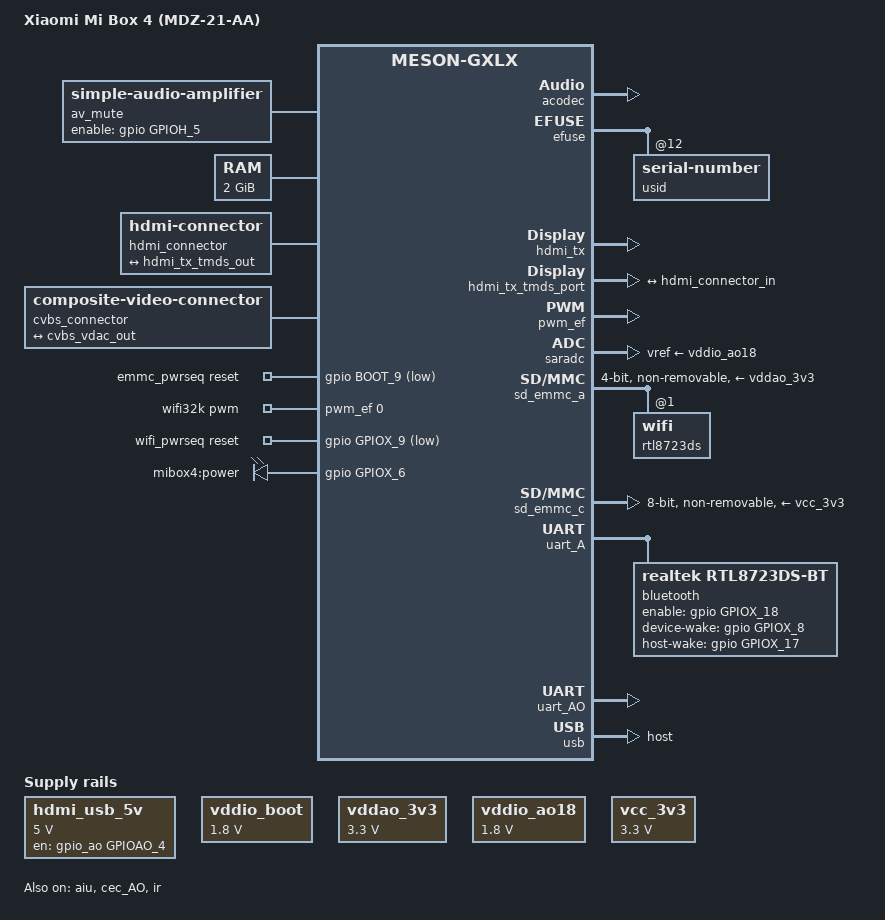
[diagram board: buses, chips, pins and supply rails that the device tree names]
// SPDX-License-Identifier: (GPL-2.0+ OR MIT)
// Copyright (c) 2026 YuChia-Kan <mail@raspberrykan.dev>
/*
 * Xiaomi Mi Box 4 (MDZ-21-AA)
 *
 * This board uses the S905L/GXLX SoC family but does not share the P23x,
 * Q20x, or P271 reference-board wiring. Keep all board-level regulators,
 * GPIOs, storage, audio, and wireless wiring local to this file.
 */

/dts-v1/;

#include "meson-gxl-s905x.dtsi"

#include <dt-bindings/leds/common.h>
#include <dt-bindings/sound/meson-aiu.h>

/ {
	compatible = "xiaomi,mibox4", "amlogic,s905l", "amlogic,meson-gxlx";
	model = "Xiaomi Mi Box 4 (MDZ-21-AA)";

	aliases {
		serial0 = &uart_AO;
		mmc0 = &sd_emmc_c;
		mmc1 = &sd_emmc_a;
		/delete-property/ mmc2;
	};

	chosen {
		stdout-path = "serial0:115200n8";
	};

	/*
	 * The vendor sound card's GPIO specifier uses the legacy linear ID
	 * 0x15. On GXL that is GPIOH_5, the active-high analog unmute line.
	 */
	av_mute: analog-audio-mute {
		compatible = "simple-audio-amplifier";
		sound-name-prefix = "AV";
		enable-gpios = <&gpio GPIOH_5 GPIO_ACTIVE_HIGH>;
	};

	/* gxl_tf_2g in Xiaomi's vendor DTB: 2 GiB RAM. */
	memory@0 {
		device_type = "memory";
		reg = <0x0 0x0 0x0 0x80000000>;
	};

	hdmi_connector: hdmi-connector {
		compatible = "hdmi-connector";
		type = "a";

		port {
			hdmi_connector_in: endpoint {
				remote-endpoint = <&hdmi_tx_tmds_out>;
			};
		};
	};

	cvbs_connector: cvbs-connector {
		compatible = "composite-video-connector";

		port {
			cvbs_connector_in: endpoint {
				remote-endpoint = <&cvbs_vdac_out>;
			};
		};
	};

	/* GPIOAO_4 enables the supply shared by HDMI 5 V and USB VBUS. */
	hdmi_usb_5v: regulator-hdmi-usb-5v {
		compatible = "regulator-fixed";
		regulator-name = "HDMI_USB_5V";
		regulator-min-microvolt = <5000000>;
		regulator-max-microvolt = <5000000>;
		gpio = <&gpio_ao GPIOAO_4 GPIO_ACTIVE_HIGH>;
		enable-active-high;
		regulator-boot-on;
		regulator-always-on;
	};

	vddio_boot: regulator-vddio-boot {
		compatible = "regulator-fixed";
		regulator-name = "VDDIO_BOOT";
		regulator-min-microvolt = <1800000>;
		regulator-max-microvolt = <1800000>;
	};

	vddao_3v3: regulator-vddao-3v3 {
		compatible = "regulator-fixed";
		regulator-name = "VDDAO_3V3";
		regulator-min-microvolt = <3300000>;
		regulator-max-microvolt = <3300000>;
	};

	vddio_ao18: regulator-vddio-ao18 {
		compatible = "regulator-fixed";
		regulator-name = "VDDIO_AO18";
		regulator-min-microvolt = <1800000>;
		regulator-max-microvolt = <1800000>;
	};

	vcc_3v3: regulator-vcc-3v3 {
		compatible = "regulator-fixed";
		regulator-name = "VCC_3V3";
		regulator-min-microvolt = <3300000>;
		regulator-max-microvolt = <3300000>;
	};

	emmc_pwrseq: emmc-pwrseq {
		compatible = "mmc-pwrseq-emmc";
		reset-gpios = <&gpio BOOT_9 GPIO_ACTIVE_LOW>;
	};

	wifi32k: wifi32k {
		compatible = "pwm-clock";
		#clock-cells = <0>;
		clock-frequency = <32768>;
		pwms = <&pwm_ef 0 30518 0>;
	};

	wifi_pwrseq: wifi-pwrseq {
		compatible = "mmc-pwrseq-simple";
		reset-gpios = <&gpio GPIOX_9 GPIO_ACTIVE_LOW>;
		clocks = <&wifi32k>;
		clock-names = "ext_clock";
		post-power-on-delay-ms = <200>;
	};

	leds: leds {
		compatible = "gpio-leds";

		power_led: power-led {
			label = "mibox4:power";
			function = LED_FUNCTION_POWER;
			gpios = <&gpio GPIOX_6 GPIO_ACTIVE_HIGH>;
			default-state = "on";
		};
	};

	sound {
		compatible = "amlogic,gx-sound-card";
		model = "Xiaomi-Mi-Box-4";
		audio-aux-devs = <&av_mute>;
		audio-widgets = "Line", "Lineout";
		audio-routing = "AV INL", "ACODEC LOLN",
				"AV INR", "ACODEC LORN",
				"Lineout", "AV OUTL",
				"Lineout", "AV OUTR";

		clocks = <&clkc CLKID_MPLL0>,
			 <&clkc CLKID_MPLL1>,
			 <&clkc CLKID_MPLL2>;
		assigned-clocks = <&clkc CLKID_MPLL0>,
				  <&clkc CLKID_MPLL1>,
				  <&clkc CLKID_MPLL2>;
		assigned-clock-rates = <294912000>, <270950400>, <393216000>;

		dai-link-0 {
			sound-dai = <&aiu AIU_CPU CPU_I2S_FIFO>;
		};

		dai-link-1 {
			sound-dai = <&aiu AIU_CPU CPU_I2S_ENCODER>;
			dai-format = "i2s";
			mclk-fs = <256>;

			codec-0 {
				sound-dai = <&aiu AIU_HDMI CTRL_I2S>;
			};

			codec-1 {
				sound-dai = <&aiu AIU_ACODEC CTRL_I2S>;
			};
		};

		dai-link-2 {
			sound-dai = <&aiu AIU_HDMI CTRL_OUT>;

			codec-0 {
				sound-dai = <&hdmi_tx>;
			};
		};

		dai-link-3 {
			sound-dai = <&aiu AIU_ACODEC CTRL_OUT>;

			codec-0 {
				sound-dai = <&acodec>;
			};
		};
	};
};

/* Xiaomi MDZ-21-AA uses the Mali 450-MP3 interrupt layout. */
&apb {
	mali: gpu@c0000 {
		interrupts = <GIC_SPI 160 IRQ_TYPE_LEVEL_HIGH>,
			<GIC_SPI 161 IRQ_TYPE_LEVEL_HIGH>,
			<GIC_SPI 162 IRQ_TYPE_LEVEL_HIGH>,
			<GIC_SPI 163 IRQ_TYPE_LEVEL_HIGH>,
			<GIC_SPI 164 IRQ_TYPE_LEVEL_HIGH>,
			<GIC_SPI 165 IRQ_TYPE_LEVEL_HIGH>,
			<GIC_SPI 166 IRQ_TYPE_LEVEL_HIGH>,
			<GIC_SPI 167 IRQ_TYPE_LEVEL_HIGH>,
			<GIC_SPI 168 IRQ_TYPE_LEVEL_HIGH>,
			<GIC_SPI 169 IRQ_TYPE_LEVEL_HIGH>;
		interrupt-names = "gp", "gpmmu", "pp", "pmu",
			"pp0", "ppmmu0", "pp1", "ppmmu1",
			"pp2", "ppmmu2";
	};
};

&acodec {
	AVDD-supply = <&vddio_ao18>;
	status = "okay";
};

&aiu {
	status = "okay";
};

&cec_AO {
	status = "okay";
	pinctrl-0 = <&ao_cec_pins>;
	pinctrl-names = "default";
	hdmi-phandle = <&hdmi_tx>;
};

&cvbs_vdac_port {
	cvbs_vdac_out: endpoint {
		remote-endpoint = <&cvbs_connector_in>;
	};
};

/delete-node/ &eth_mac;
/delete-node/ &sn;
/delete-node/ &bid;

&efuse {
	eth_mac: mac-address@0 {
		reg = <0x00 0x06>;
	};

	bt_mac: mac-address@6 {
		reg = <0x06 0x06>;
	};

	wifi_mac: mac-address@c {
		reg = <0x0c 0x06>;
	};

	usid: serial-number@12 {
		reg = <0x12 0x10>;
	};
};

/* The Mi Box 4 has no Ethernet connector. */
&ethmac {
	status = "disabled";
};

&hdmi_tx {
	status = "okay";
	pinctrl-0 = <&hdmi_hpd_pins>, <&hdmi_i2c_pins>;
	pinctrl-names = "default";
	hdmi-supply = <&hdmi_usb_5v>;
};

&hdmi_tx_tmds_port {
	hdmi_tx_tmds_out: endpoint {
		remote-endpoint = <&hdmi_connector_in>;
	};
};

&ir {
	status = "okay";
	pinctrl-0 = <&remote_input_ao_pins>;
	pinctrl-names = "default";
};

&pwm_ef {
	status = "okay";
	pinctrl-0 = <&pwm_e_pins>;
	pinctrl-names = "default";
};

&saradc {
	compatible = "amlogic,meson-gxlx-saradc", "amlogic,meson-saradc";
	status = "okay";
	vref-supply = <&vddio_ao18>;
};

&sd_emmc_a {
	status = "okay";
	pinctrl-0 = <&sdio_pins>;
	pinctrl-1 = <&sdio_clk_gate_pins>;
	pinctrl-names = "default", "clk-gate";
	#address-cells = <1>;
	#size-cells = <0>;
	bus-width = <4>;
	cap-sd-highspeed;
	cap-sdio-irq;
	max-frequency = <50000000>;
	non-removable;
	no-mmc;
	no-sd;
	disable-wp;
	keep-power-in-suspend;
	sd-uhs-sdr12;
	sd-uhs-sdr25;
	sd-uhs-sdr50;
	sd-uhs-sdr104;
	mmc-pwrseq = <&wifi_pwrseq>;
	vmmc-supply = <&vddao_3v3>;
	vqmmc-supply = <&vddio_boot>;

	rtl8723ds: wifi@1 {
		reg = <1>;
		nvmem-cells = <&wifi_mac>;
		nvmem-cell-names = "mac-address";
		interrupt-parent = <&gpio_intc>;
		interrupts = <GPIOX_7 IRQ_TYPE_LEVEL_HIGH>;
		interrupt-names = "host-wake";
	};
};

/* The Mi Box 4 has no SD-card slot. */
&sd_emmc_b {
	status = "disabled";
};

&sd_emmc_c {
	status = "okay";
	pinctrl-0 = <&emmc_pins>, <&emmc_ds_pins>;
	pinctrl-1 = <&emmc_clk_gate_pins>;
	pinctrl-names = "default", "clk-gate";
	bus-width = <8>;
	cap-mmc-highspeed;
	max-frequency = <100000000>;
	non-removable;
	disable-wp;
	mmc-ddr-1_8v;
	mmc-hs200-1_8v;
	mmc-hs400-1_8v;
	mmc-pwrseq = <&emmc_pwrseq>;
	vmmc-supply = <&vcc_3v3>;
	vqmmc-supply = <&vddio_boot>;
};

/*
 * The vendor DT enables RTL8723DS Bluetooth on UART_A. Vendor BL33 sets
 * bluetooth_usb=false, confirming that the controller uses UART transport.
 */
&uart_A {
	status = "okay";
	pinctrl-0 = <&uart_a_pins>, <&uart_a_cts_rts_pins>;
	pinctrl-names = "default";
	uart-has-rtscts;

	bluetooth {
		compatible = "realtek,rtl8723ds-bt";
		nvmem-cells = <&bt_mac>;
		nvmem-cell-names = "mac-address";
		enable-gpios = <&gpio GPIOX_18 GPIO_ACTIVE_HIGH>;
		device-wake-gpios = <&gpio GPIOX_8 GPIO_ACTIVE_HIGH>;
		host-wake-gpios = <&gpio GPIOX_17 GPIO_ACTIVE_HIGH>;
		status = "okay";
	};
};

&uart_AO {
	status = "okay";
	pinctrl-0 = <&uart_ao_a_pins>;
	pinctrl-names = "default";
};

&usb {
	status = "okay";
	dr_mode = "host";
};

&usb2_phy0 {
	phy-supply = <&hdmi_usb_5v>;
};

&vdec {
	compatible = "amlogic,gxlx-vdec", "amlogic,gx-vdec";
};
